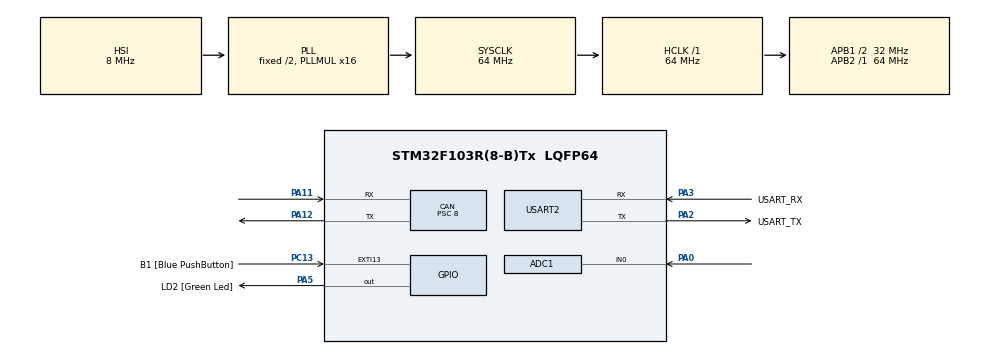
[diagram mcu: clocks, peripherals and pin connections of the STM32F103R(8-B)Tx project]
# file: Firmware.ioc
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ADC1.Channel-0\#ChannelRegularConversion=ADC_CHANNEL_0
ADC1.NbrOfConversionFlag=1
ADC1.Rank-0\#ChannelRegularConversion=1
ADC1.SamplingTime-0\#ChannelRegularConversion=ADC_SAMPLETIME_1CYCLE_5
ADC1.master=1
CAN.BS1=CAN_BS1_8TQ
CAN.BS2=CAN_BS2_7TQ
CAN.CalculateBaudRate=250000
CAN.CalculateTimeBit=4000
CAN.CalculateTimeQuantum=250.0
CAN.Prescaler=8
Mcu.Family=STM32F1
Mcu.Name=STM32F103R(8-B)Tx
Mcu.Package=LQFP64
NVIC.EXTI15_10_IRQn=true\:0\:0\:false\:false\:true\:true\:true\:true
NVIC.PriorityGroup=NVIC_PRIORITYGROUP_4
PA0-WKUP.Signal=ADCx_IN0
PA11.Mode=CAN_Activate
PA11.Signal=CAN_RX
PA12.Mode=CAN_Activate
PA12.Signal=CAN_TX
PA13.GPIO_Label=TMS
PA13.Mode=Serial_Wire
PA13.Signal=SYS_JTMS-SWDIO
PA14.GPIO_Label=TCK
PA14.Mode=Serial_Wire
PA14.Signal=SYS_JTCK-SWCLK
PA2.GPIO_Label=USART_TX
PA2.GPIO_Mode=GPIO_MODE_AF_PP
PA2.GPIO_PuPd=GPIO_NOPULL
PA2.GPIO_Speed=GPIO_SPEED_FREQ_LOW
PA2.Mode=Asynchronous
PA2.Signal=USART2_TX
PA3.GPIO_Label=USART_RX
PA3.GPIO_Mode=GPIO_MODE_AF_PP
PA3.GPIO_PuPd=GPIO_NOPULL
PA3.GPIO_Speed=GPIO_SPEED_FREQ_LOW
PA3.Mode=Asynchronous
PA3.Signal=USART2_RX
PA5.GPIO_Label=LD2 [Green Led]
PA5.GPIO_ModeDefaultOutputPP=GPIO_MODE_OUTPUT_PP
PA5.GPIO_PuPd=GPIO_NOPULL
PA5.GPIO_Speed=GPIO_SPEED_FREQ_LOW
PA5.Signal=GPIO_Output
PB3.GPIO_Label=SWO
PB3.Signal=SYS_JTDO-TRACESWO
PC13-TAMPER-RTC.GPIO_Label=B1 [Blue PushButton]
PC13-TAMPER-RTC.GPIO_PuPd=GPIO_NOPULL
PC13-TAMPER-RTC.Signal=GPXTI13
PC14-OSC32_IN.Mode=LSE-External-Oscillator
PC14-OSC32_IN.Signal=RCC_OSC32_IN
PC15-OSC32_OUT.Mode=LSE-External-Oscillator
PC15-OSC32_OUT.Signal=RCC_OSC32_OUT
PD0-OSC_IN.Mode=HSE-External-Clock-Source
PD0-OSC_IN.Signal=RCC_OSC_IN
PD1-OSC_OUT.Mode=HSE-External-Clock-Source
PD1-OSC_OUT.Signal=RCC_OSC_OUT
ProjectManager.HeapSize=0x200
ProjectManager.StackSize=0x400
ProjectManager.TargetToolchain=STM32CubeIDE
RCC.ADCPresc=RCC_ADCPCLK2_DIV8
RCC.AHBFreq_Value=64000000
RCC.APB1CLKDivider=RCC_HCLK_DIV2
RCC.APB1Freq_Value=32000000
RCC.APB1TimFreq_Value=64000000
RCC.APB2Freq_Value=64000000
RCC.APB2TimFreq_Value=64000000
RCC.HCLKFreq_Value=64000000
RCC.PLLMUL=RCC_PLL_MUL16
RCC.RTCClockSelection=RCC_RTCCLKSOURCE_LSE
RCC.SYSCLKFreq_VALUE=64000000
RCC.SYSCLKSource=RCC_SYSCLKSOURCE_PLLCLK
RCC.USBFreq_Value=64000000
SH.ADCx_IN0.0=ADC1_IN0,IN0
USART2.VirtualMode=VM_ASYNC
VP_TIM1_VS_ClockSourceITR.Mode=TriggerSource_ITR0
board=NUCLEO-F103RB

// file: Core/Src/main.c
/* USER CODE BEGIN Header */
/**
  ******************************************************************************
  * @file           : main.c
  * @brief          : Main program body
  ******************************************************************************
  * @attention
  *
  * <h2><center>&copy; Copyright (c) 2021 STMicroelectronics.
  * All rights reserved.</center></h2>
  *
  * This software component is licensed by ST under BSD 3-Clause license,
  * the "License"; You may not use this file except in compliance with the
  * License. You may obtain a copy of the License at:
  *                        opensource.org/licenses/BSD-3-Clause
  *
  ******************************************************************************
  */
/* USER CODE END Header */
#include "main.h"
#include "adc.h"
#include "can.h"
#include "tim.h"
#include "usart.h"
#include "gpio.h"

/* USER CODE BEGIN Includes */
#include "StateHandler.h"
#include "CanHandler.h"
#include "DataHandler.h"
#include "Debug.h"
#include "PulseInputHandler.h"
#include "SensorHandler.h"
/* USER CODE END Includes */

void SystemClock_Config(void);

/* USER CODE BEGIN 0 */
extern RuntimeData_t RuntimeData;
/* USER CODE END 0 */

int main(void)
{

  /* MCU Configuration--------------------------------------------------------*/

  /* Reset of all peripherals, Initializes the Flash interface and the Systick. */
  HAL_Init();

  /* Configure the system clock */
  SystemClock_Config();

  /* Initialize all configured peripherals */
  MX_GPIO_Init();
  MX_USART2_UART_Init();
  MX_CAN_Init();
  MX_TIM1_Init();
  MX_ADC1_Init();
  /* USER CODE BEGIN 2 */
  InitDataHandler();
  	InitCANHandler(&hcan);
  	InitPulseInputHandler(&htim1);
  	InitSensorHandler();
  	Statehandler(InitComplete);
  /* USER CODE END 2 */

  /* Infinite loop */
  /* USER CODE BEGIN WHILE */
//  	StoreConstants();
  	while (1) {
  			if (RuntimeData.flags.sendCAN != 0) {
  				SensorHandler_CreateMeasurement();
  				CAN_PublishData(&hcan);
  				if (RuntimeData.flags.myPin == 0) {
//  					HAL_GPIO_WritePin(OUT_D_YELLOW_GPIO_Port, OUT_D_YELLOW_Pin, GPIO_PIN_SET);	// todo: reactivate
  					RuntimeData.flags.myPin = 1;
  				} else {
//  					HAL_GPIO_WritePin(OUT_D_YELLOW_GPIO_Port, OUT_D_YELLOW_Pin, GPIO_PIN_RESET);	// todo: reactivate
  					RuntimeData.flags.myPin = 0;

  				}
  				RuntimeData.flags.sendCAN = 0;
  			}
  			if (RuntimeData.flags.sendConfig == 1) {
  				CAN_PublishConfig(&hcan);
  				RuntimeData.flags.sendConfig = 0;
  			}

  			if (RuntimeData.flags.sendError != 0) {
  				// todo: send error status via CAN
  				RuntimeData.flags.sendError =0;
  			}
  			if(HAL_CAN_GetRxFifoFillLevel(&hcan,CAN_RX_FIFO0)){
  			CAN_RxHeaderTypeDef pHeader;
  			uint8_t aData[8];
  			HAL_CAN_GetRxMessage(&hcan, CAN_RX_FIFO0, &pHeader, aData);
  			CAN_HandleRecvMsg(pHeader.StdId,aData);
  			}
    /* USER CODE END WHILE */

  }
}

void SystemClock_Config(void)
{
  RCC_OscInitTypeDef RCC_OscInitStruct = {0};
  RCC_ClkInitTypeDef RCC_ClkInitStruct = {0};
  RCC_PeriphCLKInitTypeDef PeriphClkInit = {0};

  /** Initializes the RCC Oscillators according to the specified parameters
  * in the RCC_OscInitTypeDef structure.
  */
  RCC_OscInitStruct.OscillatorType = RCC_OSCILLATORTYPE_HSI;
  RCC_OscInitStruct.HSIState = RCC_HSI_ON;
  RCC_OscInitStruct.HSICalibrationValue = RCC_HSICALIBRATION_DEFAULT;
  RCC_OscInitStruct.PLL.PLLState = RCC_PLL_ON;
  RCC_OscInitStruct.PLL.PLLSource = RCC_PLLSOURCE_HSI_DIV2;
  RCC_OscInitStruct.PLL.PLLMUL = RCC_PLL_MUL16;
  if (HAL_RCC_OscConfig(&RCC_OscInitStruct) != HAL_OK)
  {
    Error_Handler();
  }

  /** Initializes the CPU, AHB and APB buses clocks
  */
  RCC_ClkInitStruct.ClockType = RCC_CLOCKTYPE_HCLK|RCC_CLOCKTYPE_SYSCLK
                              |RCC_CLOCKTYPE_PCLK1|RCC_CLOCKTYPE_PCLK2;
  RCC_ClkInitStruct.SYSCLKSource = RCC_SYSCLKSOURCE_PLLCLK;
  RCC_ClkInitStruct.AHBCLKDivider = RCC_SYSCLK_DIV1;
  RCC_ClkInitStruct.APB1CLKDivider = RCC_HCLK_DIV2;
  RCC_ClkInitStruct.APB2CLKDivider = RCC_HCLK_DIV1;

  if (HAL_RCC_ClockConfig(&RCC_ClkInitStruct, FLASH_LATENCY_2) != HAL_OK)
  {
    Error_Handler();
  }
  PeriphClkInit.PeriphClockSelection = RCC_PERIPHCLK_ADC;
  PeriphClkInit.AdcClockSelection = RCC_ADCPCLK2_DIV8;
  if (HAL_RCCEx_PeriphCLKConfig(&PeriphClkInit) != HAL_OK)
  {
    Error_Handler();
  }
}

void Error_Handler(void)
{
}
